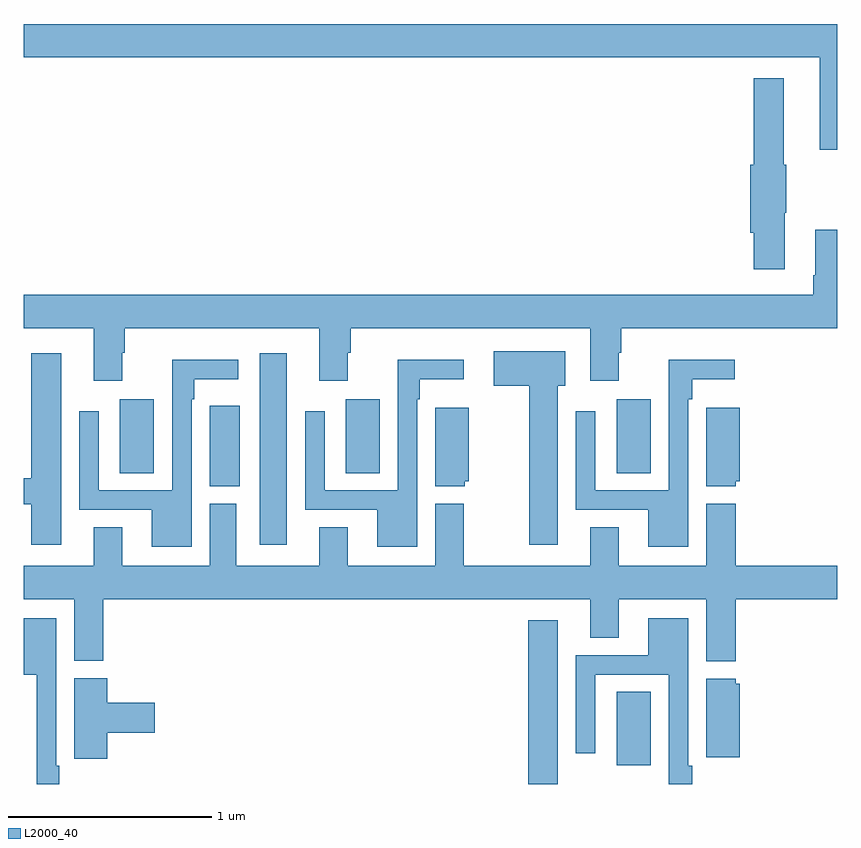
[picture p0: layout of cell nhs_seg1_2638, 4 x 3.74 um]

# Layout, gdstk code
import gdstk
lib = gdstk.Library(unit=1e-6, precision=1e-09)
def R(c, l, rs):  # rectangles x0, y0, x1, y1
    for r in rs: c.add(gdstk.rectangle(r[:2], r[2:], *l))
def P(c, l, *ps):  # polygons
    for p in ps: c.add(gdstk.Polygon(p, *l))
L2000_40 = (2000, 40)

nhs_seg1_2638 = lib.new_cell('nhs_seg1_2638')
R(nhs_seg1_2638, L2000_40, [(257.48,508.199,257.626,509.005), (257.915,508.29,258.082,508.652), (256.16,509.376,256.294,510.316), (255.914,509.662,256.063,510.058), (255.473,509.728,255.64,510.091), (256.583,509.728,256.75,510.091), (257.915,509.728,258.082,510.091)])
P(nhs_seg1_2638, L2000_40, [(259,511.936),(255,511.936),(255,511.772),(258.914,511.772),(258.914,511.317),(259,511.317)],
  [(258.742,511.009),(258.75,511.009),(258.75,511.245),(258.736,511.245),(258.736,511.669),(258.59,511.669),(258.59,511.245),(258.572,511.245),(258.572,510.909),(258.59,510.909),(258.59,510.729),(258.742,510.729)],
  [(255.484,510.32),(255.497,510.32),(255.497,510.44),(256.454,510.44),(256.454,510.183),(256.594,510.183),(256.594,510.32),(256.607,510.32),(256.607,510.44),(257.786,510.44),(257.786,510.183),(257.926,510.183),(257.926,510.32),(257.939,510.32),(257.939,510.44),(259,510.44),(259,510.925),(258.893,510.925),(258.893,510.7),(258.881,510.7),(258.881,510.604),(255,510.604),(255,510.44),(255.344,510.44),(255.344,510.183),(255.484,510.183)],
  [(257.626,510.158),(257.662,510.158),(257.662,510.328),(257.31,510.328),(257.31,510.158),(257.485,510.158),(257.485,509.376),(257.626,509.376)],
  [(255.184,510.316),(255.038,510.316),(255.038,509.702),(255,509.702),(255,509.574),(255.038,509.574),(255.038,509.376),(255.184,509.376)],
  [(258.267,510.092),(258.287,510.092),(258.287,510.188),(258.496,510.188),(258.496,510.286),(258.171,510.286),(258.171,509.643),(257.811,509.643),(257.811,510.031),(257.715,510.031),(257.715,509.547),(258.071,509.547),(258.071,509.366),(258.267,509.366)],
  [(256.935,510.092),(256.948,510.092),(256.948,510.188),(257.164,510.188),(257.164,510.286),(256.839,510.286),(256.839,509.643),(256.479,509.643),(256.479,510.031),(256.383,510.031),(256.383,509.547),(256.739,509.547),(256.739,509.366),(256.935,509.366)],
  [(255.825,510.092),(255.838,510.092),(255.838,510.188),(256.054,510.188),(256.054,510.286),(255.729,510.286),(255.729,509.643),(255.369,509.643),(255.369,510.031),(255.273,510.031),(255.273,509.547),(255.629,509.547),(255.629,509.366),(255.825,509.366)],
  [(258.501,509.688),(258.52,509.688),(258.52,510.049),(258.356,510.049),(258.356,509.663),(258.501,509.663)],
  [(257.169,509.688),(257.188,509.688),(257.188,510.049),(257.024,510.049),(257.024,509.663),(257.169,509.663)],
  [(258.5,509.108),(259,509.108),(259,509.272),(258.5,509.272),(258.5,509.578),(258.356,509.578),(258.356,509.272),(257.926,509.272),(257.926,509.462),(257.786,509.462),(257.786,509.272),(257.163,509.272),(257.163,509.578),(257.024,509.578),(257.024,509.272),(256.594,509.272),(256.594,509.462),(256.454,509.462),(256.454,509.272),(256.045,509.272),(256.045,509.577),(255.914,509.577),(255.914,509.272),(255.484,509.272),(255.484,509.462),(255.344,509.462),(255.344,509.272),(255,509.272),(255,509.108),(255.248,509.108),(255.248,508.804),(255.392,508.804),(255.392,509.108),(257.786,509.108),(257.786,508.918),(257.926,508.918),(257.926,509.108),(258.356,509.108),(258.356,508.802),(258.5,508.802)],
  [(258.287,508.288),(258.267,508.288),(258.267,509.014),(258.071,509.014),(258.071,508.833),(257.715,508.833),(257.715,508.35),(257.811,508.35),(257.811,508.737),(258.171,508.737),(258.171,508.199),(258.287,508.199)],
  [(255.175,508.288),(255.159,508.288),(255.159,509.014),(255,509.014),(255,508.737),(255.063,508.737),(255.063,508.199),(255.175,508.199)],
  [(255.41,508.451),(255.643,508.451),(255.643,508.598),(255.41,508.598),(255.41,508.719),(255.248,508.719),(255.248,508.435),(255.249,508.435),(255.249,508.323),(255.41,508.323)],
  [(258.52,508.692),(258.501,508.692),(258.501,508.717),(258.356,508.717),(258.356,508.331),(258.52,508.331)])

lib.write_gds('nhs_seg1_2638.gds')
